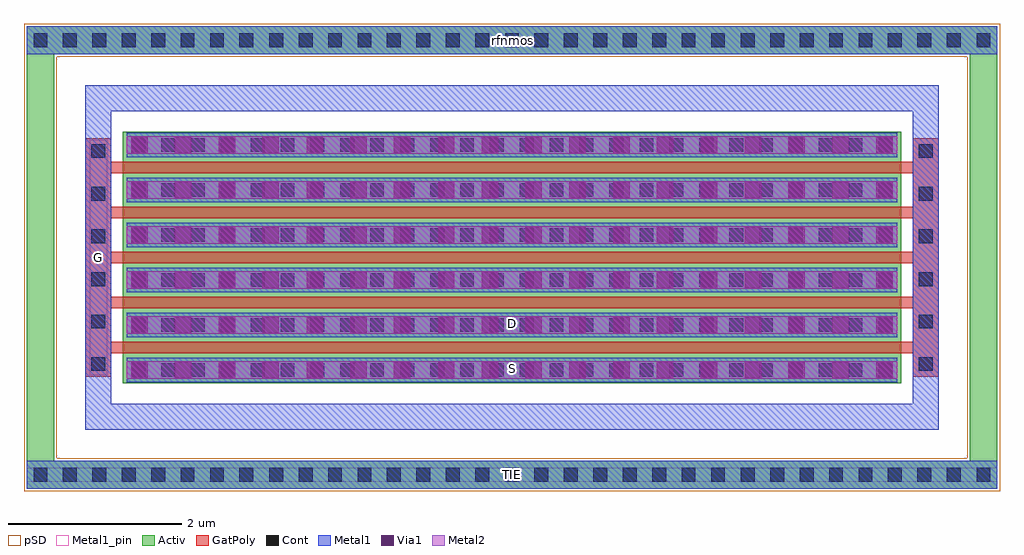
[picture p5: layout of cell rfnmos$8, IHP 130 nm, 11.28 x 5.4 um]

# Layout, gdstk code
import gdstk
lib = gdstk.Library(unit=1e-6, precision=5e-09)
def R(c, l, rs):  # rectangles x0, y0, x1, y1
    for r in rs: c.add(gdstk.rectangle(r[:2], r[2:], *l))
def A(c, l, x, y, w, h, nx, ny, dx, dy):  # array of equal rectangles
    R(c, l, [(x+i*dx, y+j*dy, x+i*dx+w, y+j*dy+h) for i in range(nx) for j in range(ny)])
def P(c, l, *ps):  # polygons
    for p in ps: c.add(gdstk.Polygon(p, *l))
Activ = (1, 0)
GatPoly = (5, 0)
Cont = (6, 0)
Metal1 = (8, 0)
Metal1_pin = (8, 2)
Metal2 = (10, 0)
pSD = (14, 0)
Via1 = (19, 0)

rfnmos_8 = lib.new_cell('rfnmos$8')
R(rfnmos_8, Activ, [(1.14,1.245,10.14,4.155)])
P(rfnmos_8, Activ, [(0.03,0.03),(0.03,5.05),(0.35,5.05),(0.35,0.35),(10.93,0.35),(10.93,5.05),(0.03,5.05),(0.03,5.37),(11.25,5.37),(11.25,0.03)])
A(rfnmos_8, GatPoly, 1.01, 1.595, 9.26, 0.13, 1, 5, 0, 0.52)
R(rfnmos_8, GatPoly, [(0.71,1.32,1.01,4.08), (10.27,1.32,10.57,4.08)])
A(rfnmos_8, Cont, 0.11, 0.11, 0.16, 0.16, 8, 2, 0.34, 5.02)
A(rfnmos_8, Cont, 2.835, 0.11, 0.16, 0.16, 8, 2, 0.34, 5.02)
A(rfnmos_8, Cont, 5.56, 0.11, 0.16, 0.16, 8, 2, 0.34, 5.02)
A(rfnmos_8, Cont, 8.285, 0.11, 0.16, 0.16, 8, 2, 0.34, 5.02)
A(rfnmos_8, Cont, 1.24, 1.32, 0.16, 0.16, 9, 6, 0.345, 0.52)
A(rfnmos_8, Cont, 4.35, 1.32, 0.16, 0.16, 8, 6, 0.345, 0.52)
A(rfnmos_8, Cont, 7.115, 1.32, 0.16, 0.16, 8, 6, 0.345, 0.52)
A(rfnmos_8, Cont, 9.88, 1.32, 0.16, 0.16, 1, 6, 0, 0.52)
A(rfnmos_8, Cont, 0.78, 1.39, 0.16, 0.16, 1, 3, 0, 0.49)
A(rfnmos_8, Cont, 10.34, 1.39, 0.16, 0.16, 1, 3, 0, 0.49)
R(rfnmos_8, Cont, [(11.01,0.11,11.17,0.27), (0.78,2.865,0.94,3.025), (10.34,2.865,10.5,3.025), (0.78,3.355,0.94,3.515), (10.34,3.355,10.5,3.515), (0.78,3.85,0.94,4.01), (10.34,3.85,10.5,4.01), (11.01,5.13,11.17,5.29)])
A(rfnmos_8, Metal1, 1.19, 1.26, 8.9, 0.28, 1, 6, 0, 0.52)
R(rfnmos_8, Metal1, [(0.03,0.03,11.25,0.35), (0.76,1.34,0.96,4.06), (10.32,1.34,10.52,4.06), (0.03,5.05,11.25,5.37)])
P(rfnmos_8, Metal1, [(0.71,0.71),(0.71,4.39),(1.01,4.39),(1.01,1.01),(10.27,1.01),(10.27,4.39),(0.71,4.39),(0.71,4.69),(10.57,4.69),(10.57,0.71)])
R(rfnmos_8, Metal1_pin, [(0.03,0.11,11.25,0.27), (0.03,0.11,11.25,0.27), (1.19,1.26,10.09,1.54), (1.19,1.26,10.09,1.54), (0.76,1.34,0.96,4.06), (0.76,1.34,0.96,4.06), (1.19,1.78,10.09,2.06), (1.19,1.78,10.09,2.06)])
A(rfnmos_8, Metal2, 1.19, 1.3, 8.9, 0.2, 1, 6, 0, 0.52)
P(rfnmos_8, pSD, [(0,0),(0,5.02),(0.38,5.02),(0.38,0.38),(10.9,0.38),(10.9,5.02),(0,5.02),(0,5.4),(11.28,5.4),(11.28,0)])
A(rfnmos_8, Via1, 1.24, 1.305, 0.19, 0.19, 4, 6, 0.505, 0.52)
A(rfnmos_8, Via1, 3.265, 1.305, 0.19, 0.19, 3, 6, 0.505, 0.52)
A(rfnmos_8, Via1, 4.785, 1.305, 0.19, 0.19, 4, 6, 0.505, 0.52)
A(rfnmos_8, Via1, 6.81, 1.305, 0.19, 0.19, 3, 6, 0.505, 0.52)
A(rfnmos_8, Via1, 8.33, 1.305, 0.19, 0.19, 3, 6, 0.505, 0.52)
A(rfnmos_8, Via1, 9.85, 1.305, 0.19, 0.19, 1, 6, 0, 0.52)
rfnmos_8.add(gdstk.Label('S', (5.64,1.42), layer=63, texttype=0))
rfnmos_8.add(gdstk.Label('D', (5.64,1.94), layer=63, texttype=0))
rfnmos_8.add(gdstk.Label('G', (0.86,2.7), layer=63, texttype=0))
rfnmos_8.add(gdstk.Label('TIE', (5.64,0.19), layer=63, texttype=0))
rfnmos_8.add(gdstk.Label('rfnmos', (5.64,5.21), layer=63, texttype=0))

lib.write_gds('rfnmos_8.gds')
